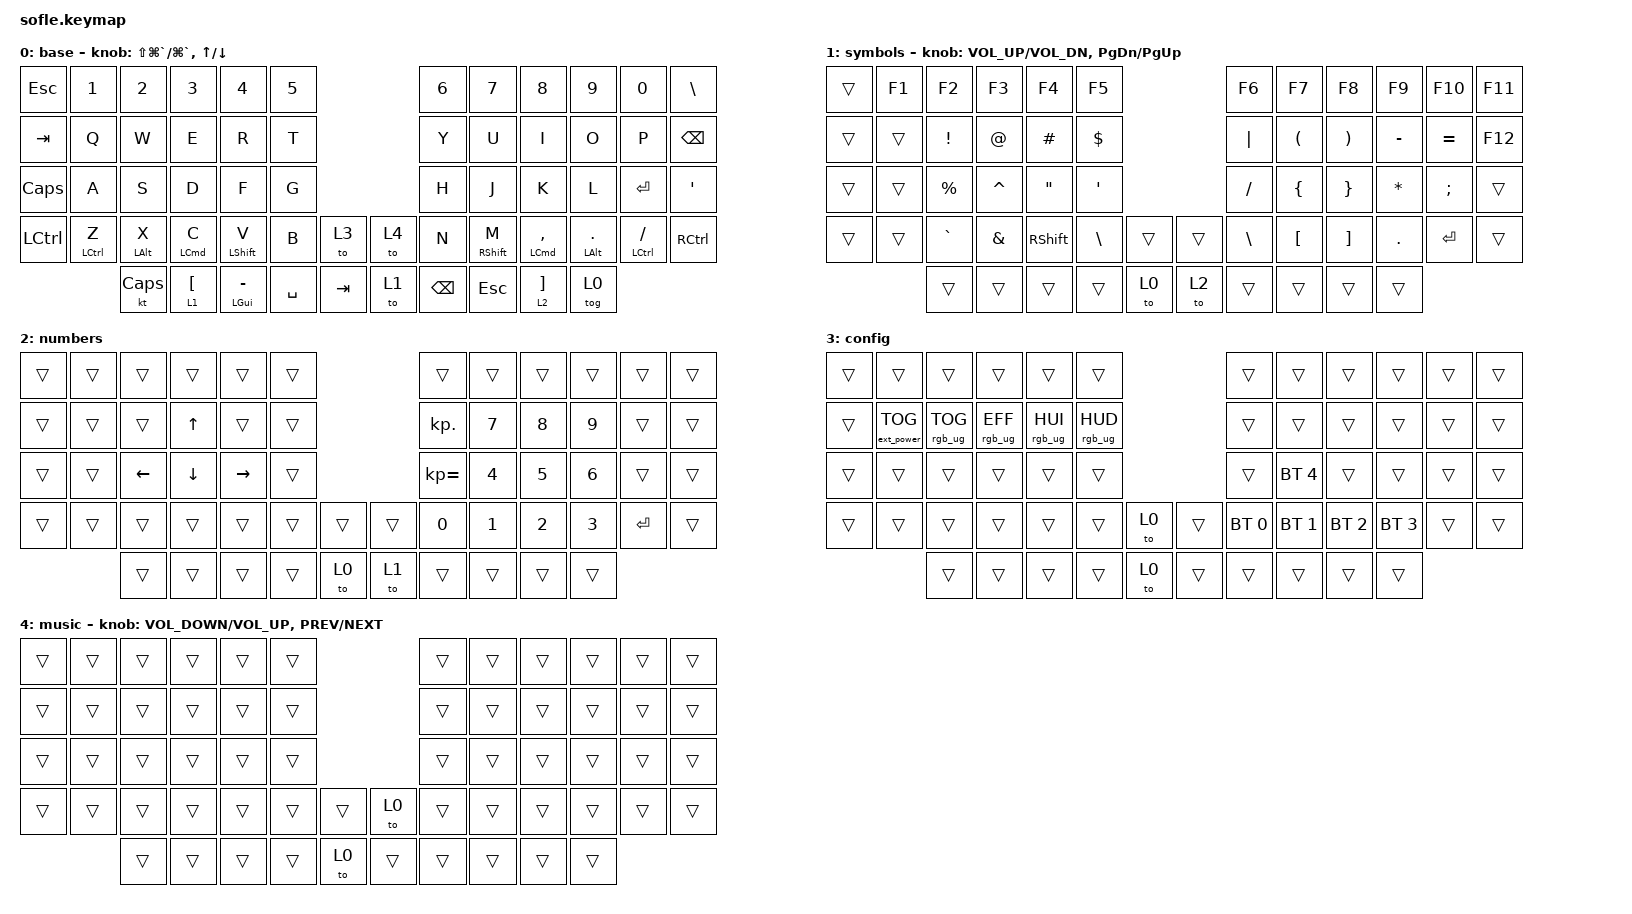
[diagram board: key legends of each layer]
/*
 * Copyright (c) 2020 The ZMK Contributors
 *
 * SPDX-License-Identifier: MIT
 */

#include <behaviors.dtsi>
#include <dt-bindings/zmk/bt.h>
#include <dt-bindings/zmk/ext_power.h>
#include <dt-bindings/zmk/keys.h>
#include <dt-bindings/zmk/rgb.h>

&left_encoder { resolution = <2>; };

&right_encoder { resolution = <2>; };

#define COLEMAK  0
#define QWERTY  1
#define LOWER   2
#define RAISE   3

&mt { tapping-term-ms = <800>; };

/ {
    behaviors {
        hold_tap_modifier: hold_tap_modifier {
            compatible = "zmk,behavior-hold-tap";
            label = "HOLD_TAP_MODIFIER";
            bindings = <&kp>, <&kp>;

            #binding-cells = <2>;
            tapping-term-ms = <200>;
            quick-tap-ms = <125>;
            flavor = "tap-preferred";
        };
    };

    keymap {
        compatible = "zmk,keymap";

        base {
            // ------------------------------------------------------------------------------------------------------------
            // |  `    |  1  |  2  |  3   |  4   |  5   |                   |  6   |  7    |  8    |  9   |   0   |   \   |
            // |  TAB  |  Q  |  W  |  F   |  P   |  B   |                   |  J   |  L    |  U    |  Y   |   ;   | BKSPC |
            // | C/ESC |  A  |  R  |  S   |  T   |  G   |                   |  M   |  N    |  E    |  I   |   O   |  C/'  |
            // | SHIFT |  Z  |  X  |  C   |  D   |  V   |  MUTE  |  | PLAY  |  K   |  H    |  ,    |  .   |   /   | SHIFT |
            //               | CAPS| ALT  | GUI/-| SPACE|LOWER/[ |  |RAISE/]| ENTER|  GUI/=|  ALT  | CTRL |

            bindings = <
&kp ESC       &kp N1                             &kp N2                         &kp N3                     &kp N4                           &kp N5                       &kp N6         &kp N7                            &kp N8                         &kp N9                           &kp N0                                 &kp BSLH
&kp TAB       &kp Q                              &kp W                          &kp E                      &kp R                            &kp T                        &kp Y          &kp U                             &kp I                          &kp O                            &kp P                                  &kp BSPC
&kp CAPSLOCK  &kp A                              &kp S                          &kp D                      &kp F                            &kp G                        &kp H          &kp J                             &kp K                          &kp L                            &kp RET                                &kp SQT
&kp LCTRL     &hold_tap_modifier LEFT_CONTROL Z  &hold_tap_modifier LEFT_ALT X  &hold_tap_modifier LCMD C  &hold_tap_modifier LEFT_SHIFT V  &kp B      &to 3      &to 4  &kp N          &hold_tap_modifier RIGHT_SHIFT M  &hold_tap_modifier LCMD COMMA  &hold_tap_modifier LEFT_ALT DOT  &hold_tap_modifier LEFT_CONTROL SLASH  &kp RCTRL
                                                 &kt CAPSLOCK                   &lt 1 LBKT                 &mt LGUI MINUS                   &kp SPACE  &kp TAB    &to 1  &kp BACKSPACE  &kp ESC                           &lt 2 RBKT                     &tog 0
            >;

            sensor-bindings =
                <&inc_dec_kp LS(LG(GRAVE)) LG(GRAVE)>,
                <&inc_dec_kp UP DOWN>;
        };

        symbols {
            // ------------------------------------------------------------------------------------------------------------
            // |       |  F1 |  F2 |  F3  |  F4  |  F5  |                   |  F6  |  F7   |  F8   |  F9  |  F10  |  F11  |
            // |       |   1 |   2 |   3  |   4  |   5  |                   |   6  |   7   |   8   |   9  |    0  |  F12  |
            // |       |  !  |  @  |  #   |  $   |  %   |                   |  ^   |  &    |  *    |  (   |   )   |       |
            // |       |  -  |  _  |  [   |  {   |  \   |        |  |       |  |   |  }    |  ]    |  =   |   +   |       |
            //               |     |      |      |      |        |  |       |      |       |       |      |

            bindings = <
&trans  &kp F1  &kp F2           &kp F3         &kp F4             &kp F5                        &kp F6         &kp F7                &kp F8                 &kp F9        &kp F10    &kp F11
&trans  &trans  &kp EXCLAMATION  &kp AT_SIGN    &kp POUND          &kp DOLLAR                    &kp PIPE       &kp LEFT_PARENTHESIS  &kp RIGHT_PARENTHESIS  &kp MINUS     &kp EQUAL  &kp F12
&trans  &trans  &kp PERCENT      &kp CARET      &kp DOUBLE_QUOTES  &kp SQT                       &kp SLASH      &kp LEFT_BRACE        &kp RIGHT_BRACE        &kp ASTERISK  &kp SEMI   &trans
&trans  &trans  &kp GRAVE        &kp AMPERSAND  &kp RSHFT          &kp BSLH    &trans    &trans  &kp BACKSLASH  &kp LBKT              &kp RBKT               &kp DOT       &kp RET    &trans
                &trans           &trans         &trans             &trans      &to 0     &to 2   &trans         &trans                &trans                 &trans
            >;

            sensor-bindings =
                <&inc_dec_kp C_VOL_UP C_VOL_DN>,
                <&inc_dec_kp PG_DN PG_UP>;
        };

        numbers {
            bindings = <
&trans  &trans  &trans    &trans    &trans     &trans                    &trans        &trans  &trans  &trans  &trans   &trans
&trans  &trans  &trans    &kp UP    &trans     &trans                    &kp KP_DOT    &kp N7  &kp N8  &kp N9  &trans   &trans
&trans  &trans  &kp LEFT  &kp DOWN  &kp RIGHT  &trans                    &kp KP_EQUAL  &kp N4  &kp N5  &kp N6  &trans   &trans
&trans  &trans  &trans    &trans    &trans     &trans  &trans    &trans  &kp N0        &kp N1  &kp N2  &kp N3  &kp RET  &trans
                &trans    &trans    &trans     &trans  &to 0     &to 1   &trans        &trans  &trans  &trans
            >;
        };

        config {
            bindings = <
&trans  &trans             &trans           &trans           &trans           &trans                            &trans        &trans        &trans        &trans        &trans  &trans
&trans  &ext_power EP_TOG  &rgb_ug RGB_TOG  &rgb_ug RGB_EFF  &rgb_ug RGB_HUI  &rgb_ug RGB_HUD                   &trans        &trans        &trans        &trans        &trans  &trans
&trans  &trans             &trans           &trans           &trans           &trans                            &trans        &bt BT_SEL 4  &trans        &trans        &trans  &trans
&trans  &trans             &trans           &trans           &trans           &trans           &to 0    &trans  &bt BT_SEL 0  &bt BT_SEL 1  &bt BT_SEL 2  &bt BT_SEL 3  &trans  &trans
                           &trans           &trans           &trans           &trans           &to 0    &trans  &trans        &trans        &trans        &trans
            >;
        };

        music {
            bindings = <
&trans  &trans  &trans  &trans  &trans  &trans                    &trans  &trans  &trans  &trans  &trans  &trans
&trans  &trans  &trans  &trans  &trans  &trans                    &trans  &trans  &trans  &trans  &trans  &trans
&trans  &trans  &trans  &trans  &trans  &trans                    &trans  &trans  &trans  &trans  &trans  &trans
&trans  &trans  &trans  &trans  &trans  &trans  &trans    &to 0   &trans  &trans  &trans  &trans  &trans  &trans
                &trans  &trans  &trans  &trans  &to 0     &trans  &trans  &trans  &trans  &trans
            >;

            sensor-bindings =
                <&inc_dec_kp C_VOLUME_DOWN C_VOLUME_UP>,
                <&inc_dec_kp C_PREV C_NEXT>;
        };
    };
};
